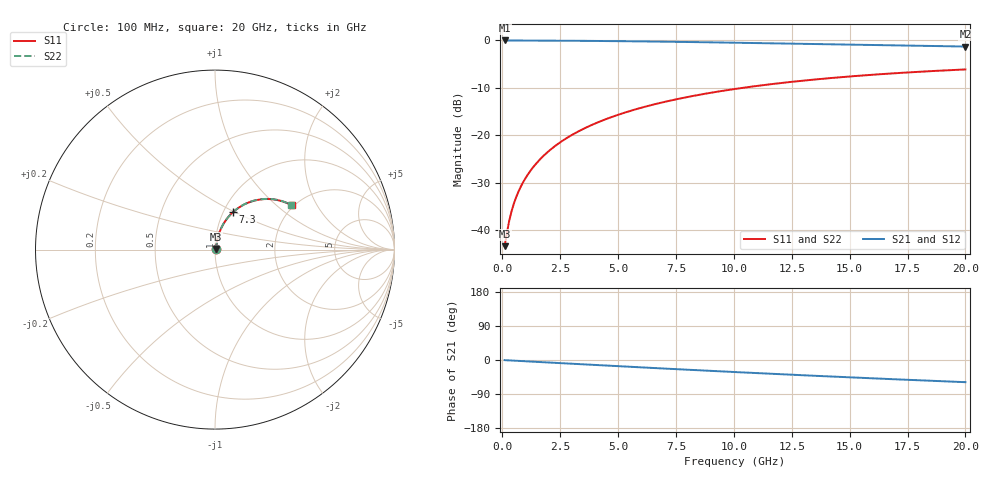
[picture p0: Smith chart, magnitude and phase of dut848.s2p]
! Touchstone file exported from HFSS 2026.1.0
!  File:  C:/ffzhzh/LocalFiles/Ansys_Project_Files/temp_train_TMRDL_848_1783156927_22436.aedt
!  Generated:  05:23:47 PM Jul  4, 2026
!  Design:  TMRDL
!  Project:  temp_train_TMRDL_848_1783156927_22436
! Variables:
!  h_bsmrdl = 2um
!  h_ox = 20um
!  h_rdl = 5um
!  h_sub = 80um
!  h_tmrdl = 2.21um
!  h_tsv = 80um
!  h_via = 3um
!  l_bsmrdl = 300um
!  l_sub = 1294.5um
!  l_tmrdl = 894.5um
!  m_sub = 200um
!  pitch = 56.39um
!  r_tsv = 6um
!  s_tmrdl = 10um
!  w_bsmrdl = 18um
!  w_sub = 500um
!  w_tmrdl = 26.47um
!  x_tsv_center1 = 907.735um
!  x_tsv_center2 = 1225.735um
!  x_tsv_center3 = 2146.705um
!  x_tsv_center4 = 2464.705um
!  x_tsv_center5 = 3385.675um
!  x_tsv_center6 = 3703.675um
# GHz S MA R 50.000000
! Terminal data exported
! Port[1] = TM_RDL1_1_T1
! Port[2] = TM_RDL1_1_T2
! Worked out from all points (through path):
!   200 points, 100 MHz to 20 GHz, reference 50 ohm
!   highest |S21| = -0.05 dB at 100 MHz (marker M1); lowest = -1.3 dB at 20 GHz (marker M2)
!   group delay of S21, straight-line fit = 8.15 ps
!   lowest |S11| = -43.3 dB at 100 MHz (marker M3), VSWR 1.01, Z = 50.6 + j0.376 ohm
!   |S11| at or under -10 dB: start of sweep to 10.42 GHz
!   |S22| runs from -43.3 to -6.1 dB; largest |S21 - S12| = 5.6e-15
!   S11 on the Smith chart (normalised r, x): 100 MHz: 1.01, +0.01; 7.3 GHz: 1.11, +0.49; 20 GHz: 1.94, +1.27
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0.1  0.006806 33.1  0.9943 -0.4  0.9943 -0.4  0.006806 33.1
! Gamma 0 0 0 0
! Port Impedance 50 0 50 0
0.2  0.009471 51.1  0.9941 -0.7  0.9941 -0.7  0.009471 51.1
0.3  0.0126 60.0  0.9938 -1.0  0.9938 -1.0  0.0126 60.0
0.4  0.01584 64.9  0.9935 -1.4  0.9935 -1.4  0.01584 64.9
0.5  0.0191 68.0  0.9932 -1.7  0.9932 -1.7  0.0191 68.1
0.6  0.02234 70.2  0.993 -2.0  0.993 -2.0  0.02234 70.2
0.8  0.02881 73.0  0.9925 -2.7  0.9925 -2.7  0.02881 73.0
1.1  0.03853 75.2  0.9919 -3.7  0.9919 -3.7  0.03853 75.2
1.3  0.04504 76.0  0.9915 -4.3  0.9915 -4.3  0.04503 76.0
1.6  0.05483 76.6  0.9909 -5.3  0.9909 -5.3  0.05483 76.7
2.1  0.07118 76.7  0.9897 -6.9  0.9897 -6.9  0.07118 76.8
2.7  0.09077 76.0  0.9879 -8.9  0.9879 -8.9  0.09077 76.1
3.5  0.1167 74.5  0.985 -11.5  0.985 -11.5  0.1167 74.5
4.2  0.139 72.8  0.9819 -13.7  0.9819 -13.7  0.139 72.8
5  0.1641 70.7  0.9779 -16.3  0.9779 -16.3  0.1641 70.7
6.8  0.2184 65.6  0.9667 -22.0  0.9667 -22.0  0.2184 65.7
7.3  0.2329 64.2  0.9632 -23.5  0.9632 -23.5  0.2329 64.2
8.6  0.2691 60.4  0.9534 -27.5  0.9534 -27.5  0.2691 60.5
10.1  0.3083 56.1  0.9411 -32.0  0.9411 -32.0  0.3083 56.2
13.4  0.384 46.9  0.9123 -41.4  0.9123 -41.4  0.384 47.1
16.7  0.4452 38.2  0.8837 -50.2  0.8837 -50.2  0.4452 38.4
20  0.4928 30.1  0.8581 -58.5  0.8581 -58.5  0.4928 30.3
